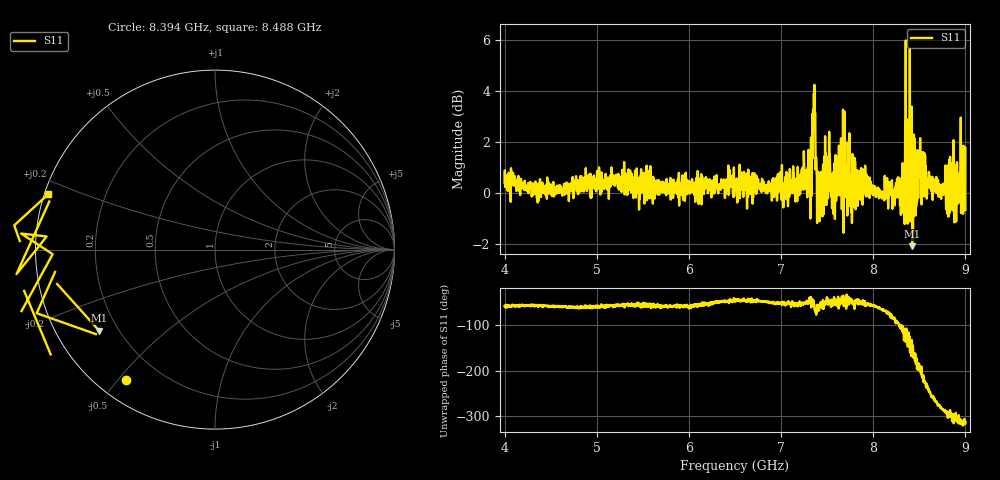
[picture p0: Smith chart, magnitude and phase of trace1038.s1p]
! Created with skrf 1.8.0 (http://scikit-rf.org).
# Hz S RI R 50.0
!freq ReS11 ImS11
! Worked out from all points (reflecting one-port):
!   1601 points, 4 GHz to 9 GHz, reference 50 ohm
!   lowest |S11| = -2.1 dB at 8.422 GHz (marker M1), VSWR 8.42, Z = 6.52 - j15.5 ohm
!   phase of S11 starts at -58 deg and turns -254 deg over the sweep
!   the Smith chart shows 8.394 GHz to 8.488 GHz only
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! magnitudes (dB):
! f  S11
! 4 GHz  0.4
! 4.625 GHz  -0.1
! 5.25 GHz  0.3
! 5.875 GHz  0.1
! 6.5 GHz  0.5
! 7.125 GHz  0.5
! 7.303 GHz  0.1
! 7.356 GHz  3.9
! 7.397 GHz  -0.8
! 7.412 GHz  0.8
! 7.503 GHz  0.7
! 7.588 GHz  0.3
! 7.669 GHz  0.4
! 7.703 GHz  0.7
! 7.75 GHz  0.1
! 7.784 GHz  0.4
! 7.844 GHz  0.8
! 8.097 GHz  0.1
! 8.316 GHz  0.8
! 8.338 GHz  -0.4
! 8.375 GHz  0.6
! 8.412 GHz  0.7
! 8.422 GHz  -2.1
! 8.447 GHz  2.1
! 8.516 GHz  1.6
! 8.731 GHz  0.0
! 8.972 GHz  0.6
! 9 GHz  -0.7
